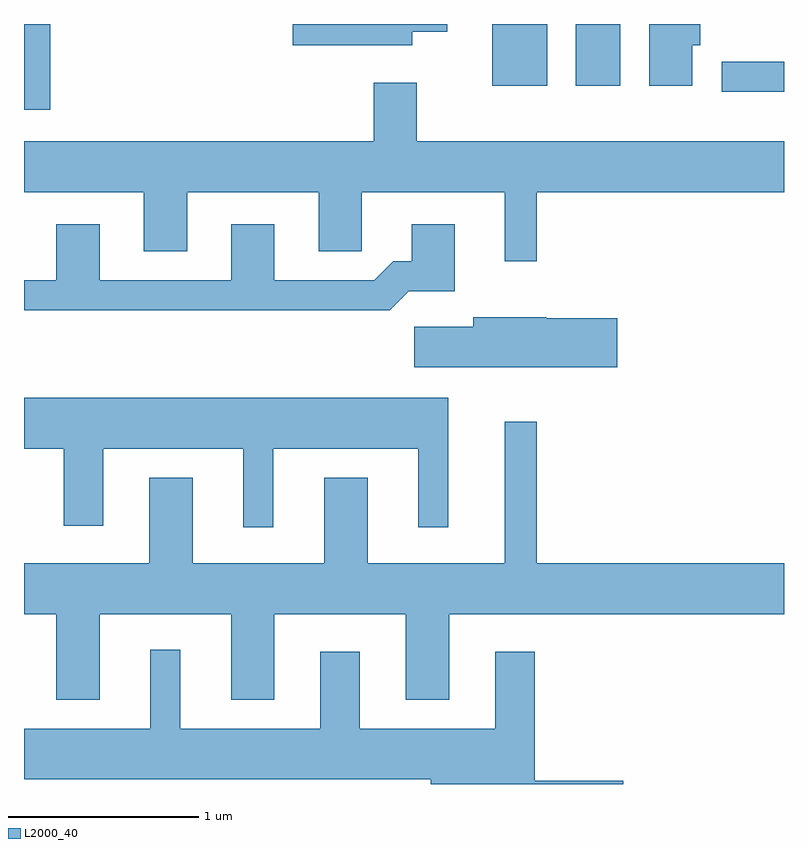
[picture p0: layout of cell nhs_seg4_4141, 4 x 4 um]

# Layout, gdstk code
import gdstk
lib = gdstk.Library(unit=1e-6, precision=1e-09)
def R(c, l, rs):  # rectangles x0, y0, x1, y1
    for r in rs: c.add(gdstk.rectangle(r[:2], r[2:], *l))
def P(c, l, *ps):  # polygons
    for p in ps: c.add(gdstk.Polygon(p, *l))
L2000_40 = (2000, 40)

nhs_seg4_4141 = lib.new_cell('nhs_seg4_4141')
R(nhs_seg4_4141, L2000_40, [(305.611,1379.531,305.749,1379.982), (309.283,1379.626,309.611,1379.784), (308.076,1379.656,308.364,1379.982), (308.516,1379.656,308.749,1379.982)])
P(nhs_seg4_4141, L2000_40, [(309.129,1379.871),(309.169,1379.871),(309.169,1379.982),(308.901,1379.982),(308.901,1379.656),(309.129,1379.656)],
  [(307.654,1379.941),(307.839,1379.941),(307.839,1379.982),(307.026,1379.982),(307.026,1379.871),(307.654,1379.871)],
  [(308.309,1379.096),(309.611,1379.096),(309.611,1379.364),(307.679,1379.364),(307.679,1379.674),(307.451,1379.674),(307.451,1379.364),(305.611,1379.364),(305.611,1379.096),(306.241,1379.096),(306.241,1378.786),(306.469,1378.786),(306.469,1379.096),(307.161,1379.096),(307.161,1378.786),(307.389,1378.786),(307.389,1379.096),(308.141,1379.096),(308.141,1378.733),(308.309,1378.733)],
  [(307.637,1378.576),(307.879,1378.576),(307.879,1378.929),(307.651,1378.929),(307.651,1378.734),(307.554,1378.734),(307.454,1378.634),(306.929,1378.634),(306.929,1378.929),(306.701,1378.929),(306.701,1378.634),(306.009,1378.634),(306.009,1378.929),(305.781,1378.929),(305.781,1378.634),(305.611,1378.634),(305.611,1378.476),(307.537,1378.476)],
  [(308.734,1378.434),(308.36,1378.434),(308.36,1378.439),(307.976,1378.439),(307.976,1378.389),(307.666,1378.389),(307.666,1378.176),(308.734,1378.176)],
  [(306.924,1377.746),(307.686,1377.746),(307.686,1377.333),(307.844,1377.333),(307.844,1378.014),(305.611,1378.014),(305.611,1377.746),(305.821,1377.746),(305.821,1377.341),(306.029,1377.341),(306.029,1377.746),(306.766,1377.746),(306.766,1377.333),(306.924,1377.333)],
  [(306.009,1376.876),(306.701,1376.876),(306.701,1376.426),(306.929,1376.426),(306.929,1376.876),(307.621,1376.876),(307.621,1376.426),(307.849,1376.426),(307.849,1376.876),(309.611,1376.876),(309.611,1377.144),(308.309,1377.144),(308.309,1377.888),(308.141,1377.888),(308.141,1377.144),(307.419,1377.144),(307.419,1377.594),(307.191,1377.594),(307.191,1377.144),(306.499,1377.144),(306.499,1377.594),(306.271,1377.594),(306.271,1377.144),(305.611,1377.144),(305.611,1376.876),(305.781,1376.876),(305.781,1376.426),(306.009,1376.426)],
  [(308.764,1375.999),(308.299,1375.999),(308.299,1376.679),(308.091,1376.679),(308.091,1376.274),(307.379,1376.274),(307.379,1376.679),(307.171,1376.679),(307.171,1376.274),(306.434,1376.274),(306.434,1376.688),(306.276,1376.688),(306.276,1376.274),(305.611,1376.274),(305.611,1376.006),(307.751,1376.006),(307.751,1375.982),(308.764,1375.982)])

lib.write_gds('nhs_seg4_4141.gds')
